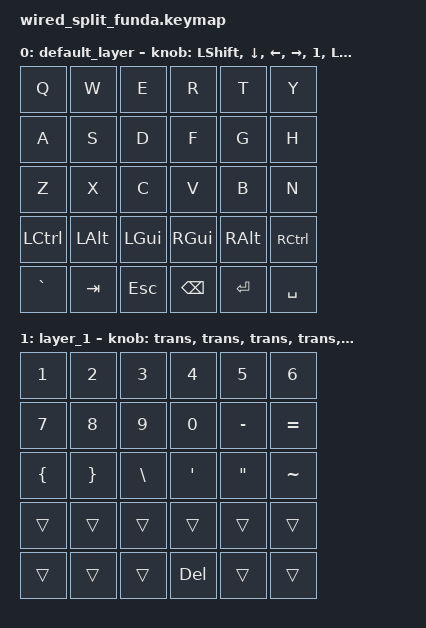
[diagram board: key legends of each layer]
/*
 * Archivo Keymap para la Funda Teclado 6x5 con 2 Joysticks
 *
 * Placa: NRF52840 (nice_nano_v2)
 * Matriz: 6 Columnas x 5 Filas
 * Joystick 1 (Izquierdo): Digital (5 botones) para Modificadores
 * Joystick 2 (Derecho): Analógico (2 ejes) para Mouse + 1 botón
 */

#include <behaviors.dtsi>
#include <dt-bindings/zmk/keys.h>
#include <dt-bindings/zmk/pointing.h>
// Se eliminó #include <dt-bindings/zmk/matrix_transform.h> (movido al .overlay)

/ {
    compatible = "zmk,keymap";

    // --- Mapa de Teclas (Keymap) ---
    keymap {
        compatible = "zmk,keymap"; //

        // --- CAPA 0: Base ---
        default_layer {
            bindings = <
                &kp Q        &kp W        &kp E        &kp R        &kp T        &kp Y
                &kp A        &kp S        &kp D        &kp F        &kp G        &kp H
                &kp Z        &kp X        &kp C        &kp V        &kp B        &kp N
                &kp LCTL     &kp LALT     &kp LGUI     &kp RGUI     &kp RALT     &kp RCTL
                &kp GRAVE    &kp TAB      &kp ESC      &kp BSPC     &kp RET      &kp SPC
            >; //

            sensor-bindings = <
                // Joystick 1 (Digital)
                &kp LSHFT    // Joy1 Arriba
                &kp DOWN     // Joy1 Abajo (Flecha abajo)
                &kp LEFT     // Joy1 Izquierda (Flecha izq)
                &kp RIGHT    // Joy1 Derecha (Flecha der)
                &mo 1        // Joy1 Botón (Presionar) -> Activa Capa 1 (Símbolos)

                // Joystick 2 (Botón del Mouse)
                &mkp LCLK    // Joy2 Botón (Presionar) -> Click Izquierdo
            >; //
        };

        // --- CAPA 1: Símbolos y Mouse ---
        layer_1 {
            bindings = <
                &kp N1       &kp N2       &kp N3       &kp N4       &kp N5       &kp N6
                &kp N7       &kp N8       &kp N9       &kp N0       &kp MINUS    &kp EQUAL
                &kp LBRC     &kp RBRC     &kp BSLH     &kp SQT      &kp DQT      &kp TILDE
                &trans       &trans       &trans       &trans       &trans       &trans
                &trans       &trans       &trans       &kp DEL      &trans       &trans
            >; //

            sensor-bindings = <
                // Joystick 1 (Digital)
                &trans       &trans       &trans       &trans       &trans

                // Joystick 2 (Botón del Mouse)
                // Habilita el movimiento del mouse SÓLO mientras esta capa esté activa
                &pointing_enable
            >; //
        };
    };
};
